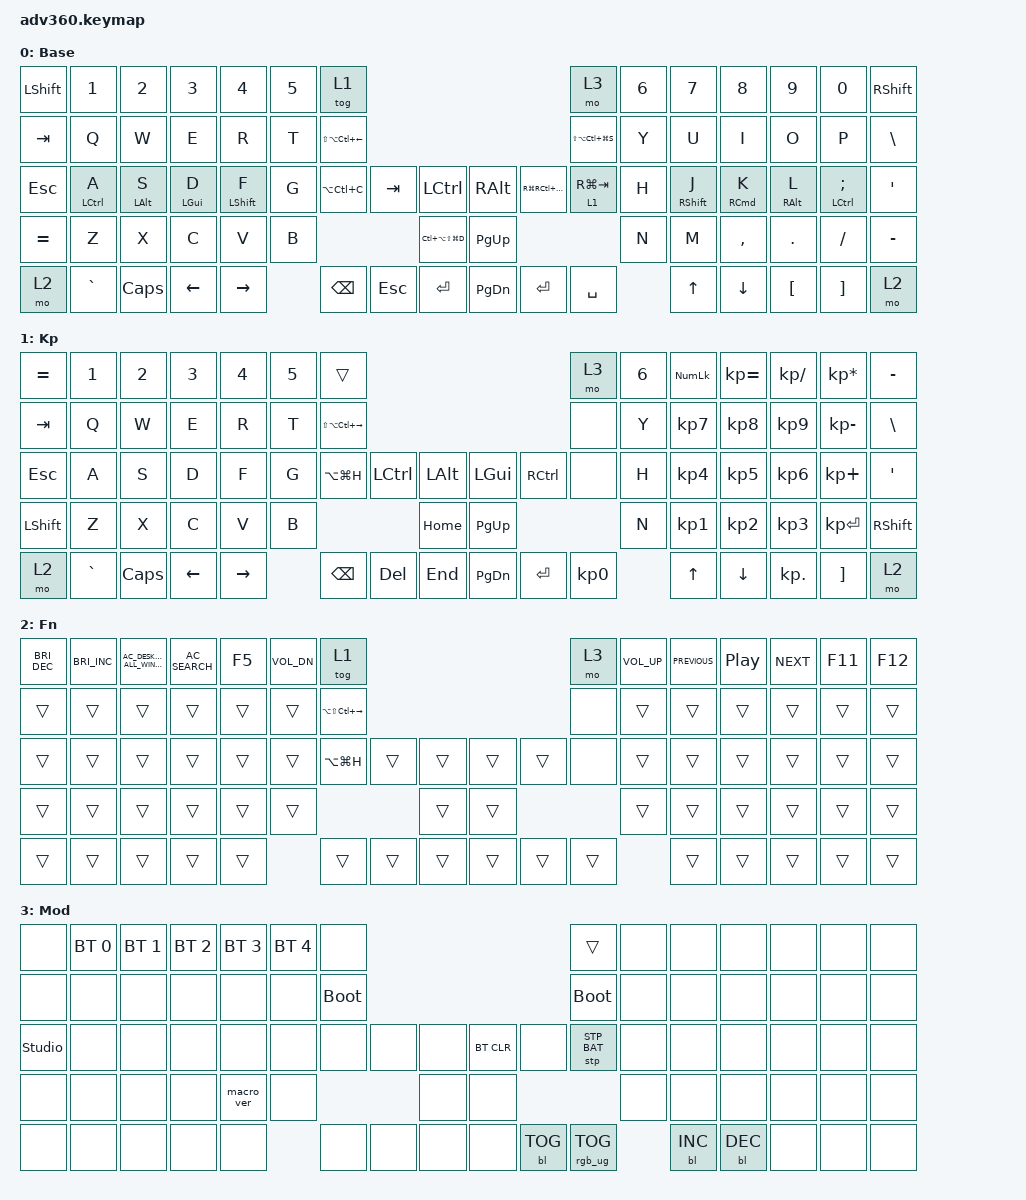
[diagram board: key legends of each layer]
#include <dt-bindings/zmk/stp.h>
#include <behaviors.dtsi>
#include <dt-bindings/zmk/backlight.h>
#include <dt-bindings/zmk/bt.h>
#include <dt-bindings/zmk/keys.h>
#include <dt-bindings/zmk/rgb.h>

/ {
    behaviors {
        #include "macros.dtsi"
      #include "version.dtsi"

        hm: homerow_mods {
            compatible = "zmk,behavior-hold-tap";
            label = "HOMEROW_MODS";
            #binding-cells = <2>;
            tapping-term-ms = <200>;
            flavor = "tap-preferred";
            bindings = <&kp>, <&kp>;

            quick-tap-ms = <150>;
        };
    };

    combos {
        compatible = "zmk,combos";

        curly_bracket {
            bindings = <&kp LEFT_BRACE>;
            key-positions = <18 23>;
        };

        angle_bracket {
            bindings = <&kp LEFT_BRACKET>;
            key-positions = <17 24>;
        };

        grave {
            bindings = <&kp GRAVE>;
            key-positions = <16 25>;
        };

        closing_bracket {
            bindings = <&kp RIGHT_BRACE>;
            key-positions = <33 40>;
        };
    };

    macros {
        coding_time: coding_time {
            compatible = "zmk,behavior-macro";
            #binding-cells = <0>;
            bindings = <&coding_time>;
            label = "CODING_TIME";
        };
    };

    keymap {
        compatible = "zmk,keymap";

        default_layer {
            display-name = "Base";
            bindings = <
&kp LEFT_SHIFT  &kp N1              &kp N2          &kp N3          &kp N4            &kp N5  &tog 1                                                                                                     &mo 3                  &kp N6  &kp N7             &kp N8               &kp N9            &kp N0                      &kp RSHIFT
&kp TAB         &kp Q               &kp W           &kp E           &kp R             &kp T   &kp LS(LA(LC(LEFT)))                                                                                       &kp LS(LA(LC(LG(S))))  &kp Y   &kp U              &kp I                &kp O             &kp P                       &kp BACKSLASH
&kp ESCAPE      &hm LEFT_CONTROL A  &hm LEFT_ALT S  &hm LEFT_GUI D  &hm LEFT_SHIFT F  &kp G   &kp LA(LC(C))         &kp TAB     &kp LEFT_CONTROL           &kp RIGHT_ALT  &kp RG(RC(RA(RS(RIGHT_GUI))))  &lt 1 RG(TAB)          &kp H   &hm RIGHT_SHIFT J  &hm RIGHT_COMMAND K  &hm RIGHT_ALT L   &hm LEFT_CONTROL SEMICOLON  &kp SINGLE_QUOTE
&kp EQUAL       &kp Z               &kp X           &kp C           &kp V             &kp B                                     &kp LC(LA(LS(LG(D))))      &kp PG_UP                                                            &kp N   &kp M              &kp COMMA            &kp DOT           &kp SLASH                   &kp MINUS
&mo 2           &kp GRAVE           &kp CAPS        &kp LEFT        &kp RIGHT                 &kp BSPC              &kp ESCAPE  &kp ENTER                  &kp PG_DN      &kp ENTER                      &kp SPACE                      &kp UP_ARROW       &kp DOWN_ARROW       &kp LEFT_BRACKET  &kp RBKT                    &mo 2
            >;
        };

        keypad {
            display-name = "Kp";
            bindings = <
&kp EQUAL  &kp N1     &kp N2    &kp N3    &kp N4     &kp N5  &trans                                                                &mo 3      &kp N6  &kp KP_NUM  &kp KP_EQUAL  &kp KP_DIVIDE  &kp KP_MULTIPLY  &kp MINUS
&kp TAB    &kp Q      &kp W     &kp E     &kp R      &kp T   &kp LS(LA(LC(RIGHT)))                                                 &none      &kp Y   &kp KP_N7   &kp KP_N8     &kp KP_N9      &kp KP_MINUS     &kp BSLH
&kp ESC    &kp A      &kp S     &kp D     &kp F      &kp G   &kp LA(LG(H))          &kp LCTRL  &kp LALT      &kp LGUI   &kp RCTRL  &none      &kp H   &kp KP_N4   &kp KP_N5     &kp KP_N6      &kp KP_PLUS      &kp SINGLE_QUOTE
&kp LSHFT  &kp Z      &kp X     &kp C     &kp V      &kp B                                     &kp HOME      &kp PG_UP                        &kp N   &kp KP_N1   &kp KP_N2     &kp KP_N3      &kp KP_ENTER     &kp RSHFT
&mo 2      &kp GRAVE  &kp CAPS  &kp LEFT  &kp RIGHT          &kp BSPC               &kp DEL    &kp END       &kp PG_DN  &kp ENTER  &kp KP_N0          &kp UP      &kp DOWN      &kp KP_DOT     &kp RBKT         &mo 2
            >;
        };

        fn {
            display-name = "Fn";
            bindings = <
&kp C_BRIGHTNESS_DEC  &kp C_BRIGHTNESS_INC  &kp C_AC_DESKTOP_SHOW_ALL_WINDOWS  &kp C_AC_SEARCH  &kp F5  &kp C_VOL_DN  &tog 1                                                     &mo 3   &kp C_VOLUME_UP  &kp C_PREVIOUS  &kp C_PLAY_PAUSE  &kp C_NEXT  &kp F11  &kp F12
&trans                &trans                &trans                             &trans           &trans  &trans        &kp LA(LS(LC(RIGHT)))                                      &none   &trans           &trans          &trans            &trans      &trans   &trans
&trans                &trans                &trans                             &trans           &trans  &trans        &kp LA(LG(H))          &trans  &trans      &trans  &trans  &none   &trans           &trans          &trans            &trans      &trans   &trans
&trans                &trans                &trans                             &trans           &trans  &trans                                       &trans      &trans                  &trans           &trans          &trans            &trans      &trans   &trans
&trans                &trans                &trans                             &trans           &trans                &trans                 &trans  &trans      &trans  &trans  &trans                   &trans          &trans            &trans      &trans   &trans
            >;
        };

        mod {
            display-name = "Mod";
            bindings = <
&none           &bt BT_SEL 0  &bt BT_SEL 1  &bt BT_SEL 2  &bt BT_SEL 3  &bt BT_SEL 4  &none                                                  &trans           &none  &none       &none       &none  &none  &none
&none           &none         &none         &none         &none         &none         &bootloader                                            &bootloader      &none  &none       &none       &none  &none  &none
&studio_unlock  &none         &none         &none         &none         &none         &none        &none  &none      &bt BT_CLR  &none       &stp STP_BAT     &none  &none       &none       &none  &none  &none
&none           &none         &none         &none         &macro_ver    &none                             &none      &none                                    &none  &none       &none       &none  &none  &none
&none           &none         &none         &none         &none                       &none        &none  &none      &none       &bl BL_TOG  &rgb_ug RGB_TOG         &bl BL_INC  &bl BL_DEC  &none  &none  &none
            >;
        };
    };
};
